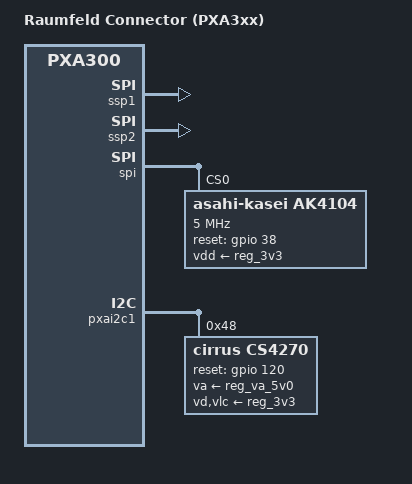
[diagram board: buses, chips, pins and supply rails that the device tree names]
/dts-v1/;

#include "pxa300-raumfeld-common.dtsi"

/ {
	model = "Raumfeld Connector (PXA3xx)";
	compatible = "raumfeld,raumfeld-connector-pxa303", "marvell,pxa300";

	sound {
		compatible = "simple-audio-card";
		simple-audio-card,name = "Raumfeld Connector";
		#address-cells = <1>;
		#size-cells = <0>;

		simple-audio-card,dai-link@0 {
			reg = <0>;
			format = "i2s";
			bitclock-master = <&dailink_master_analog>;
			frame-master = <&dailink_master_analog>;
			mclk-fs = <256>;

			dailink_master_analog: cpu {
				sound-dai = <&ssp_dai0>;
			};

			codec {
				sound-dai = <&cs4270>;
			};
		};

		simple-audio-card,dai-link@1 {
			reg = <1>;
			format = "i2s";
			bitclock-master = <&dailink_master_digital>;
			frame-master = <&dailink_master_digital>;
			mclk-fs = <256>;

			dailink_master_digital: cpu {
				sound-dai = <&ssp_dai1>;
			};

			codec {
				sound-dai = <&ak4104>;
			};
		};
	};
};

&ssp1 {
	status = "okay";
};

&ssp2 {
	status = "okay";
};

&rotary {
	status = "disabled";
};

&spi {
	ak4104: optical-transmitter@0 {
		compatible = "asahi-kasei,ak4104";
		reg = <0>;
		vdd-supply = <&reg_3v3>;
		spi-max-frequency = <5000000>;
		reset-gpio = <&gpio 38 GPIO_ACTIVE_HIGH>;
		#sound-dai-cells = <0>;
	};
};

&pxai2c1 {
	cs4270: codec@48 {
		compatible = "cirrus,cs4270";
		pinctrl-names = "default";
		pinctrl-0 = <&cs4270_pins>;
		reg = <0x48>;
		va-supply = <&reg_va_5v0>;
		vd-supply = <&reg_3v3>;
		vlc-supply = <&reg_3v3>;
		reset-gpio = <&gpio 120 GPIO_ACTIVE_HIGH>;
		#sound-dai-cells = <0>;
	};
};

&pinctrl {
	cs4270_pins: cs4270_pins {
		pinctrl-single,pins = <
			MFP_PIN_PXA300(120) MFP_AF0	/* RESET */
		>;
		pinctrl-single,low-power-mode = MFP_LPM(MFP_LPM_PULL_LOW);
	};
};
